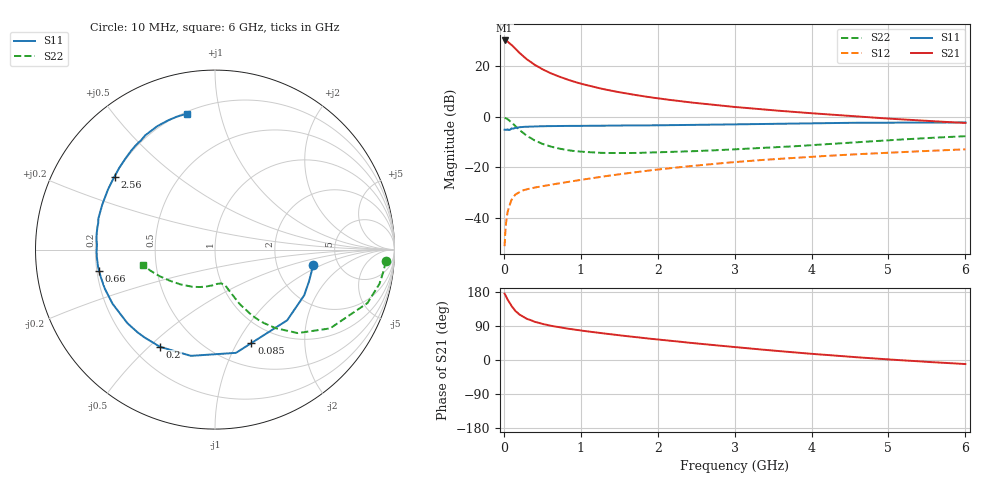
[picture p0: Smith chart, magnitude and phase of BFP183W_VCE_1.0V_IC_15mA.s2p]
! Infineon Technologies  Discrete & RF Semiconductors
! BFP183W
! VCE = 1.0 V,  IC =  15 mA
! Common Emitter S-Parameters:  Jan 2016
# GHz  S  MA  R  50
!  f  S11  S21  S12  S22
! GHz  MAG  ANG  MAG  ANG  MAG  ANG  MAG  ANG
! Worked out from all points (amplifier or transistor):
!   210 points, 10 MHz to 6 GHz, reference 50 ohm
!   highest |S21| = 30.3 dB at 10 MHz (marker M1)
!   |S21| within 3 dB of that: start of sweep to 140.3 MHz
!   unconditionally stable (mu >= 1): 878.1 MHz to end of sweep
!   at 185 MHz: K = 0.32, MSG = 28.1 dB, |S12| = -30.2 dB
!   at 1.52 GHz: K = 1.19, MAG = 13.5 dB, |S12| = -22.7 dB
!   at 6 GHz: K = 1.04, MAG = 4.1 dB, |S12| = -12.9 dB
!   S11 on the Smith chart (normalised r, x): 10 MHz: 3.25, -0.83; 85 MHz: 0.76, -1.15; 200 MHz: 0.31, -0.54; 660 MHz: 0.21, -0.09; 2.56 GHz: 0.20, +0.31; 6 GHz: 0.21, +0.79
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0.01  0.5537 -9.2  32.79 175.0  0.0027 87.1  0.9543 -3.9
0.02  0.5529 -18.4  32.65 171.5  0.0054 80.5  0.9449 -7.9
0.03  0.5584 -27.1  32.47 167.3  0.008 79.8  0.9359 -11.8
0.05  0.5629 -44.4  31.16 159.0  0.0131 71.9  0.9002 -19.3
0.085  0.5588 -68.7  27.87 147.8  0.0195 61.7  0.8077 -29.4
0.1  0.587 -78.5  26.84 142.2  0.0224 59.1  0.777 -34.4
0.15  0.607 -102.8  22.46 129.3  0.0286 50.6  0.6544 -45.3
0.2  0.6224 -119.5  18.79 120.3  0.0319 45.3  0.5534 -52.3
0.26  0.6313 -132.9  15.58 112.8  0.035 41.3  0.4657 -58.0
0.3  0.6374 -139.9  13.8 108.6  0.0364 39.6  0.4185 -60.8
0.4  0.6455 -152.0  10.79 100.8  0.0394 38.7  0.3396 -65.2
0.5  0.6513 -160.4  8.817 95.2  0.042 39.4  0.2906 -67.8
0.66  0.6564 -169.6  6.839 88.6  0.0461 41.3  0.2455 -70.6
0.8  0.6597 -175.7  5.651 83.6  0.0499 43.2  0.2211 -72.6
1.02  0.6589 177.1  4.467 77.4  0.0565 45.6  0.2022 -75.7
1.4  0.6672 167.2  3.289 67.5  0.0688 48.6  0.1911 -81.3
2.02  0.6785 153.9  2.306 53.8  0.0904 50.3  0.197 -92.3
2.56  0.6919 144.0  1.835 42.6  0.1099 49.3  0.2109 -102.9
3.1  0.711 134.8  1.521 32.3  0.1297 46.9  0.2294 -114.8
4.1  0.7477 120.2  1.148 14.9  0.1642 41.3  0.2799 -137.5
5.1  0.7667 109.1  0.902 0.2  0.1968 34.9  0.3493 -156.0
6  0.7734 101.6  0.755 -10.7  0.2262 29.3  0.412 -168.3
